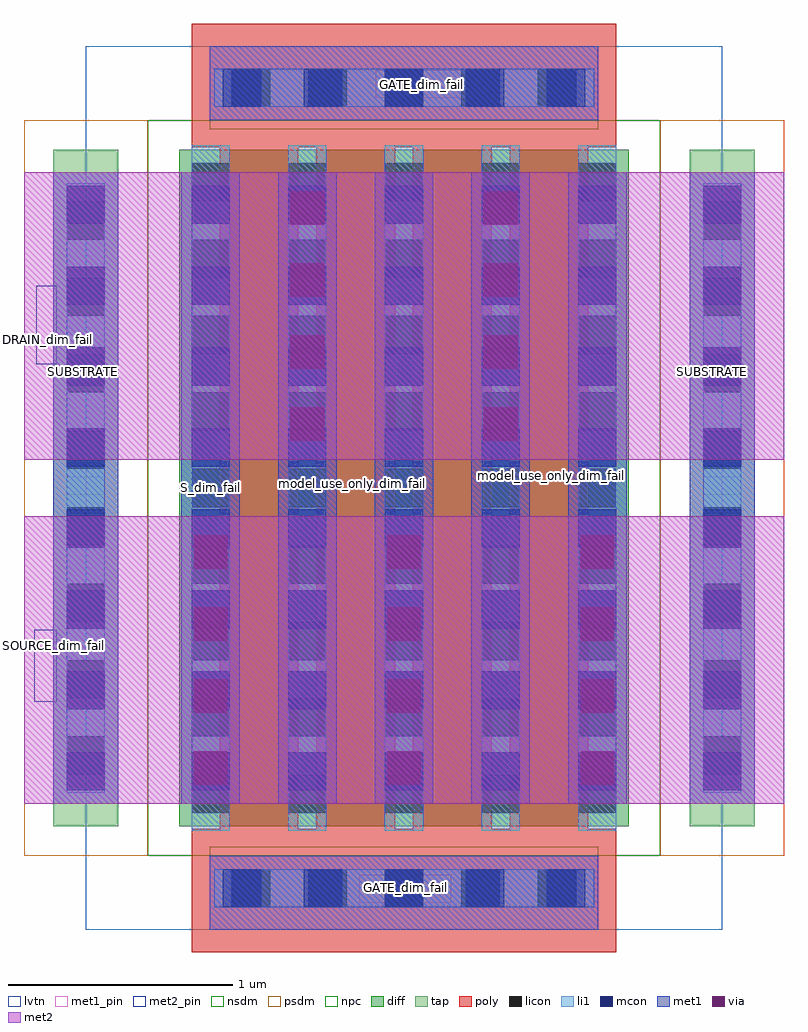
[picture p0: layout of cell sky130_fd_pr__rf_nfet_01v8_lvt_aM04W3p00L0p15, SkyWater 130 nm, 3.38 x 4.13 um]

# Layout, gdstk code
import gdstk
lib = gdstk.Library(unit=1e-6, precision=1e-09)
def R(c, l, rs):  # rectangles x0, y0, x1, y1
    for r in rs: c.add(gdstk.rectangle(r[:2], r[2:], *l))
def A(c, l, x, y, w, h, nx, ny, dx, dy):  # array of equal rectangles
    R(c, l, [(x+i*dx, y+j*dy, x+i*dx+w, y+j*dy+h) for i in range(nx) for j in range(ny)])
def P(c, l, *ps):  # polygons
    for p in ps: c.add(gdstk.Polygon(p, *l))
diff = (65, 20)
tap = (65, 44)
poly = (66, 20)
licon = (66, 44)
li1 = (67, 20)
mcon = (67, 44)
met1_pin = (68, 16)
met1 = (68, 20)
via = (68, 44)
met2_pin = (69, 16)
met2 = (69, 20)
nsdm = (93, 44)
psdm = (94, 20)
npc = (95, 20)
lvtn = (125, 44)

sky130_fd_pr__rf_nfet_01 = lib.new_cell('sky130_fd_pr__rf_nfet_01v8_lvt_aM04W3p00L0p15')
R(sky130_fd_pr__rf_nfet_01, diff, [(0.69,0.46,2.69,3.47)])
R(sky130_fd_pr__rf_nfet_01, tap, [(0.13,0.46,0.42,3.47), (2.96,0.46,3.25,3.47)])
P(sky130_fd_pr__rf_nfet_01, poly, [(0.745,-0.1),(0.745,0.45),(0.87,0.45),(0.87,3.48),(1.22,3.48),(1.22,0.45),(1.3,0.45),(1.3,3.48),(1.65,3.48),(1.65,0.45),(1.73,0.45),(1.73,3.48),(2.08,3.48),(2.08,0.45),(2.16,0.45),(2.16,3.48),(0.745,3.48),(0.745,4.03),(2.635,4.03),(2.635,3.48),(2.51,3.48),(2.51,0.45),(2.635,0.45),(2.635,-0.1)])
A(sky130_fd_pr__rf_nfet_01, licon, 0.925, 0.1, 0.17, 0.17, 5, 2, 0.34, 3.56)
A(sky130_fd_pr__rf_nfet_01, licon, 0.745, 0.52, 0.17, 0.17, 5, 9, 0.43, 0.34)
A(sky130_fd_pr__rf_nfet_01, licon, 0.19, 0.69, 0.17, 0.17, 1, 8, 0, 0.34)
A(sky130_fd_pr__rf_nfet_01, licon, 3.02, 0.69, 0.17, 0.17, 1, 8, 0, 0.34)
A(sky130_fd_pr__rf_nfet_01, li1, 0.745, 0.44, 0.17, 3.05, 5, 1, 0.43, 0)
A(sky130_fd_pr__rf_nfet_01, li1, 0.745, 0.62, 0.17, 2.69, 5, 1, 0.43, 0)
R(sky130_fd_pr__rf_nfet_01, li1, [(0.845,0.1,2.535,0.27), (0.885,0.1,2.495,0.27), (0.19,0.61,0.36,3.32), (3.02,0.61,3.19,3.32), (0.19,0.62,0.36,3.31), (3.02,0.62,3.19,3.31), (0.845,3.66,2.535,3.83), (0.885,3.66,2.495,3.83)])
A(sky130_fd_pr__rf_nfet_01, mcon, 0.885, 0.1, 0.17, 0.17, 5, 2, 0.36, 3.56)
A(sky130_fd_pr__rf_nfet_01, mcon, 0.19, 0.62, 0.17, 0.17, 1, 8, 0, 0.36)
A(sky130_fd_pr__rf_nfet_01, mcon, 0.745, 0.62, 0.17, 0.17, 5, 8, 0.43, 0.36)
A(sky130_fd_pr__rf_nfet_01, mcon, 3.02, 0.62, 0.17, 0.17, 1, 8, 0, 0.36)
R(sky130_fd_pr__rf_nfet_01, met1_pin, [(1.49,0.12,1.9,0.245), (0.19,1.935,0.36,2.015), (3.02,1.935,3.19,2.015), (1.565,3.7,1.975,3.825)])
A(sky130_fd_pr__rf_nfet_01, met1, 0.7, 0.56, 0.26, 2.81, 5, 1, 0.43, 0)
A(sky130_fd_pr__rf_nfet_01, met1, 0.7, 0.56, 0.26, 1.28, 3, 1, 0.86, 0)
R(sky130_fd_pr__rf_nfet_01, met1, [(0.825,0,2.555,0.33), (0.13,0.56,0.42,3.37), (2.96,0.56,3.25,3.37), (1.13,2.09,1.39,3.37), (1.99,2.09,2.25,3.37), (0.825,3.6,2.555,3.93)])
A(sky130_fd_pr__rf_nfet_01, via, 0.755, 0.645, 0.15, 0.15, 3, 4, 0.86, 0.32)
A(sky130_fd_pr__rf_nfet_01, via, 1.185, 2.175, 0.15, 0.15, 1, 4, 0, 0.32)
A(sky130_fd_pr__rf_nfet_01, via, 2.045, 2.175, 0.15, 0.15, 1, 4, 0, 0.32)
R(sky130_fd_pr__rf_nfet_01, met2_pin, [(0.045,1.015,0.145,1.335), (0.055,2.515,0.145,2.865)])
A(sky130_fd_pr__rf_nfet_01, met2, 0.7, 0.56, 0.26, 1.28, 3, 1, 0.86, 0)
R(sky130_fd_pr__rf_nfet_01, met2, [(0,0.56,3.38,1.84), (0,2.09,3.38,3.37), (1.13,2.09,1.39,3.37), (1.99,2.09,2.25,3.37)])
R(sky130_fd_pr__rf_nfet_01, nsdm, [(0.55,0.33,2.83,3.6)])
R(sky130_fd_pr__rf_nfet_01, psdm, [(0,0.33,0.55,3.6), (2.83,0.33,3.38,3.6)])
R(sky130_fd_pr__rf_nfet_01, npc, [(0.825,0,2.555,0.37), (0.825,3.56,2.555,3.93)])
R(sky130_fd_pr__rf_nfet_01, lvtn, [(0.275,0,3.105,3.93)])
sky130_fd_pr__rf_nfet_01.add(gdstk.Label('model_use_only_dim_fail', (1.46,1.985), layer=66, texttype=83))
sky130_fd_pr__rf_nfet_01.add(gdstk.Label('model_use_only_dim_fail', (1.885,2.005), layer=66, texttype=83))
sky130_fd_pr__rf_nfet_01.add(gdstk.Label('model_use_only_dim_fail', (2.345,2.02), layer=66, texttype=83))
sky130_fd_pr__rf_nfet_01.add(gdstk.Label('model_use_only_dim_fail', (1.015,1.985), layer=66, texttype=83))
sky130_fd_pr__rf_nfet_01.add(gdstk.Label('S_dim_fail', (0.83,1.965), layer=83, texttype=44))
sky130_fd_pr__rf_nfet_01.add(gdstk.Label('S_dim_fail', (1.26,1.965), layer=83, texttype=44))
sky130_fd_pr__rf_nfet_01.add(gdstk.Label('S_dim_fail', (1.69,1.965), layer=83, texttype=44))
sky130_fd_pr__rf_nfet_01.add(gdstk.Label('S_dim_fail', (2.12,1.965), layer=83, texttype=44))
sky130_fd_pr__rf_nfet_01.add(gdstk.Label('S_dim_fail', (0.83,1.965), layer=83, texttype=44))
sky130_fd_pr__rf_nfet_01.add(gdstk.Label('D_dim_fail', (1.26,1.965), layer=83, texttype=44))
sky130_fd_pr__rf_nfet_01.add(gdstk.Label('S_dim_fail', (1.69,1.965), layer=83, texttype=44))
sky130_fd_pr__rf_nfet_01.add(gdstk.Label('D_dim_fail', (2.12,1.965), layer=83, texttype=44))
sky130_fd_pr__rf_nfet_01.add(gdstk.Label('S_dim_fail', (2.55,1.965), layer=83, texttype=44))
sky130_fd_pr__rf_nfet_01.add(gdstk.Label('GATE_dim_fail', (1.77,3.76), layer=68, texttype=5))
sky130_fd_pr__rf_nfet_01.add(gdstk.Label('GATE_dim_fail', (1.695,0.19), layer=68, texttype=5))
sky130_fd_pr__rf_nfet_01.add(gdstk.Label('SUBSTRATE', (0.265,2.485), layer=68, texttype=5))
sky130_fd_pr__rf_nfet_01.add(gdstk.Label('SUBSTRATE', (3.06,2.485), layer=68, texttype=5))
sky130_fd_pr__rf_nfet_01.add(gdstk.Label('DRAIN_dim_fail', (0.095,2.625), layer=69, texttype=5))
sky130_fd_pr__rf_nfet_01.add(gdstk.Label('SOURCE_dim_fail', (0.085,1.265), layer=69, texttype=5))

lib.write_gds('sky130_fd_pr__rf_nfet_01v8_lvt_aM04W3p00L0p15.gds')
